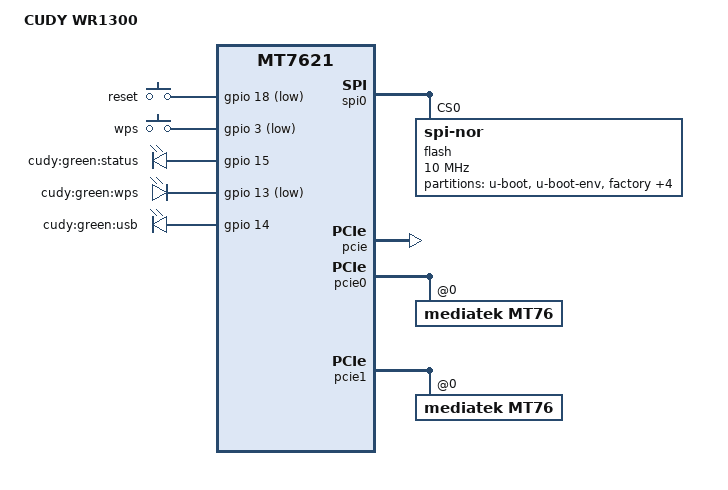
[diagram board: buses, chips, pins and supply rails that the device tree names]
// SPDX-License-Identifier: GPL-2.0-or-later OR MIT
/dts-v1/;

#include "mt7621.dtsi"

#include <dt-bindings/input/input.h>
#include <dt-bindings/gpio/gpio.h>

/ {
	compatible = "cudy,wr1300", "mediatek,mt7621-soc";
	model = "CUDY WR1300";

	aliases {
		label-mac-device = &gmac0;
		led-boot = &led_system;
		led-failsafe = &led_system;
		led-running = &led_system;
		led-upgrade = &led_system;
	};

	chosen {
		bootargs = "console=ttyS0,115200";
	};

	keys {
		compatible = "gpio-keys";
		#address-cells = <1>;
		#size-cells = <0>;

		reset {
			label = "reset";
			gpios = <&gpio 18 GPIO_ACTIVE_LOW>;
			linux,code = <KEY_RESTART>;
		};

		wps {
			label = "wps";
			gpios = <&gpio 3 GPIO_ACTIVE_LOW>;
			linux,code = <KEY_WPS_BUTTON>;
		};
	};

	leds {
			compatible = "gpio-leds";

			led_system: status {
				label = "cudy:green:status";
				gpios = <&gpio 15 GPIO_ACTIVE_HIGH>;
				default-state = "keep";
			};

			wps {
				label = "cudy:green:wps";
				gpios = <&gpio 13 GPIO_ACTIVE_LOW>;
			};

			usb {
				label = "cudy:green:usb";
				gpios = <&gpio 14 GPIO_ACTIVE_HIGH>;
				linux,default-trigger = "usbport";
				trigger-sources = <&xhci_ehci_port1>;
			};
	};
};

&spi0 {
	status = "okay";

	flash@0 {
		compatible = "jedec,spi-nor";
		reg = <0>;
		spi-max-frequency = <10000000>;
		m25p,chunked-io = <32>;

		partitions {
			compatible = "fixed-partitions";
			#address-cells = <1>;
			#size-cells = <1>;

			partition@0 {
				label = "u-boot";
				reg = <0x0 0x30000>;
				read-only;
			};

			partition@30000 {
				label = "u-boot-env";
				reg = <0x30000 0x10000>;
				read-only;
			};

			factory: partition@40000 {
				label = "factory";
				reg = <0x40000 0x10000>;
				read-only;
			};

			debug: partition@fd0000 {
				label = "debug";
				reg = <0xfd0000 0x10000>;
			};

			backup: partition@fe0000 {
				label = "backup";
				reg = <0xfe0000 0x10000>;
			};

			bdinfo: partition@ff0000 {
				label = "bdinfo";
				reg = <0xff0000 0x10000>;
				read-only;
			};

			partition@50000 {
				label = "firmware";
				reg = <0x50000 0xf80000>;
				compatible = "denx,uimage";
			};
		};
	};
};

&pcie {
	status = "okay";
};

&pcie0 {
	mt76@0,0 {
		compatible = "mediatek,mt76";
		reg = <0x0000 0 0 0 0>;
		mediatek,mtd-eeprom = <&factory 0x0000>;
	};
};

&pcie1 {
	mt76@1,0 {
		compatible = "mediatek,mt76";
		reg = <0x0000 0 0 0 0>;
		mediatek,mtd-eeprom = <&factory 0x8000>;
		ieee80211-freq-limit = <5000000 6000000>;
	};
};

&gmac0 {
	mtd-mac-address = <&bdinfo 0xDE00>;
};

&switch0 {
	ports {
		port@0 {
			status = "okay";
			label = "lan1";
		};

		port@1 {
			status = "okay";
			label = "lan2";
		};

		port@2 {
			status = "okay";
			label = "lan3";
		};

		port@3 {
			status = "okay";
			label = "lan4";
		};

		port@4 {
			status = "okay";
			label = "wan";
			mtd-mac-address = <&bdinfo 0xDE00>;
			mtd-mac-address-increment = <1>;
		};
	};
};

&state_default {
	gpio {
		groups = "i2c", "uart3", "wdt";
		function = "gpio";
	};
};
